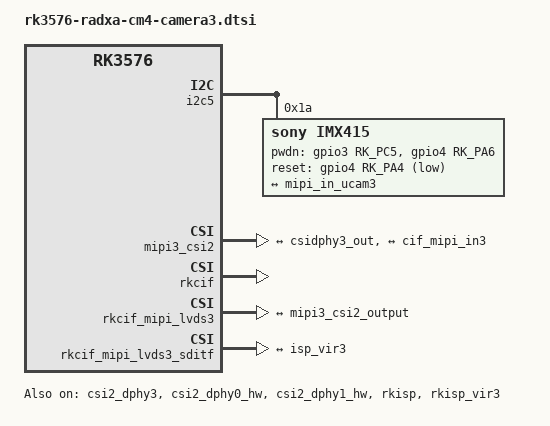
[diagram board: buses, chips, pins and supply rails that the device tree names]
// SPDX-License-Identifier: (GPL-2.0+ OR MIT)
/*
 * Copyright (c) 2024 Rockchip Electronics Co., Ltd.
 *
 */
&csi2_dphy3 {
	status = "okay";

	ports {
		#address-cells = <1>;
		#size-cells = <0>;
		port@0 {
			reg = <0>;
			#address-cells = <1>;
			#size-cells = <0>;

			mipi_in_ucam3: endpoint@1 {
				reg = <1>;
				remote-endpoint = <&imx415_out3>;
				data-lanes = <1 2 3 4>;
			};
		};
		port@1 {
			reg = <1>;
			#address-cells = <1>;
			#size-cells = <0>;

			csidphy3_out: endpoint@0 {
				reg = <0>;
				remote-endpoint = <&mipi3_csi2_input>;
			};
		};
	};
};

&csi2_dphy0_hw {
	status = "okay";
};

&csi2_dphy1_hw {
	status = "okay";
};


&i2c5 {
	status = "okay";
	pinctrl-0 = <&i2c5m3_xfer>;

	imx415: imx415@1a {
		compatible = "sony,imx415";
		reg = <0x1a>;
		clocks = <&cru CLK_MIPI_CAMERAOUT_M2>;
		clock-names = "xvclk";
		pinctrl-names = "default";
		pinctrl-0 = <&cam_clk2m0_clk2>;
		power-domains = <&power RK3576_PD_VI>;
		// avdd-supply = <&vcc_3v3_s0>;
		pwdn-gpios = <&gpio3 RK_PC5 GPIO_ACTIVE_HIGH
					&gpio4 RK_PA6 GPIO_ACTIVE_HIGH>;
		reset-gpios = <&gpio4 RK_PA4 GPIO_ACTIVE_LOW>;
		rockchip,camera-module-index = <0>;
		rockchip,camera-module-facing = "back";
		rockchip,camera-module-name = "CMK-OT2022-PX1";
		rockchip,camera-module-lens-name = "IR0147-50IRC-8M-F20";
		port {
			imx415_out3: endpoint {
				remote-endpoint = <&mipi_in_ucam3>;
				data-lanes = <1 2 3 4>;
			};
		};
	};
};

&mipi3_csi2 {
	status = "okay";

	ports {
		#address-cells = <1>;
		#size-cells = <0>;

		port@0 {
			reg = <0>;
			#address-cells = <1>;
			#size-cells = <0>;

			mipi3_csi2_input: endpoint@1 {
				reg = <1>;
				remote-endpoint = <&csidphy3_out>;
			};
		};

		port@1 {
			reg = <1>;
			#address-cells = <1>;
			#size-cells = <0>;

			mipi3_csi2_output: endpoint@0 {
				reg = <0>;
				remote-endpoint = <&cif_mipi_in3>;
			};
		};
	};
};


&rkcif {
	status = "okay";
};

&rkcif_mipi_lvds3 {
	status = "okay";

	port {
		cif_mipi_in3: endpoint {
			remote-endpoint = <&mipi3_csi2_output>;
		};
	};
};

&rkcif_mipi_lvds3_sditf {
	status = "okay";

	port {
		mipi3_lvds_sditf: endpoint {
			remote-endpoint = <&isp_vir3>;
		};
	};
};

&rkcif_mmu {
	status = "okay";
};

&rkisp {
	status = "okay";
};

&rkisp_mmu {
	status = "okay";
};

&rkisp_vir3 {
	status = "okay";

	port {
		#address-cells = <1>;
		#size-cells = <0>;

		isp_vir3: endpoint@0 {
			reg = <0>;
			remote-endpoint = <&mipi3_lvds_sditf>;
		};
	};
};
